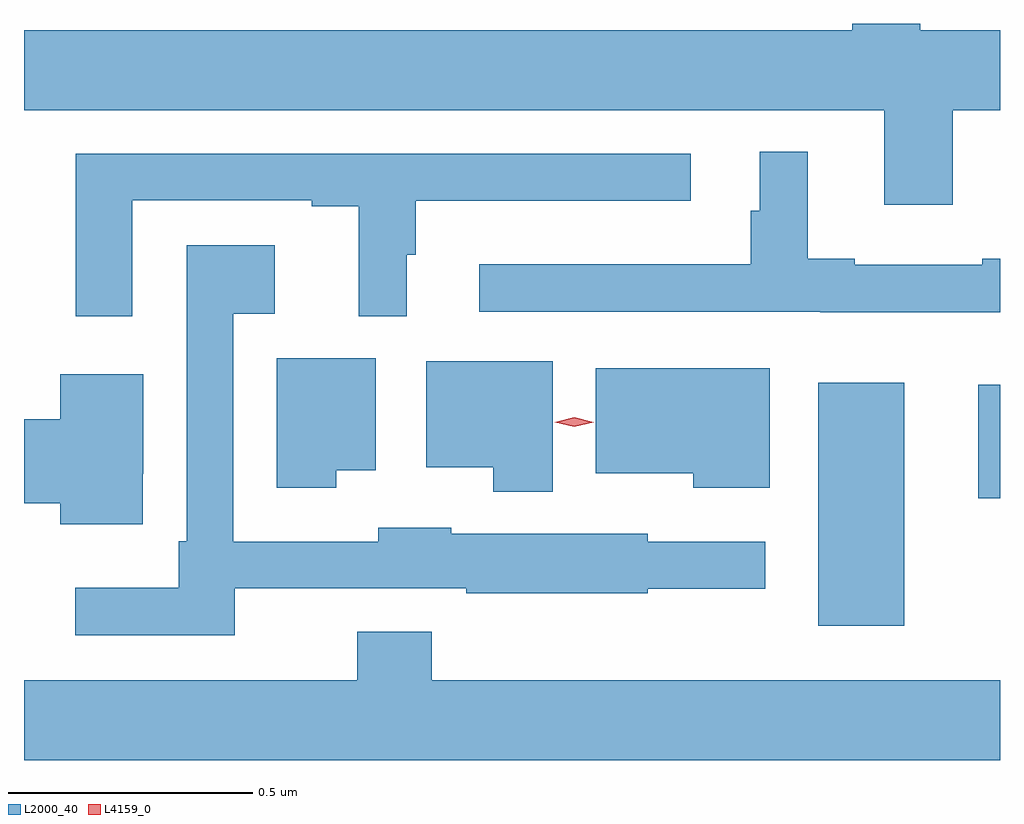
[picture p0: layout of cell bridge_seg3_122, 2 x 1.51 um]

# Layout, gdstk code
import gdstk
lib = gdstk.Library(unit=1e-6, precision=1e-09)
def R(c, l, rs):  # rectangles x0, y0, x1, y1
    for r in rs: c.add(gdstk.rectangle(r[:2], r[2:], *l))
def P(c, l, *ps):  # polygons
    for p in ps: c.add(gdstk.Polygon(p, *l))
L2000_40 = (2000, 40)
L4159_0 = (4159, 0)

bridge_seg3_122 = lib.new_cell('bridge_seg3_122')
R(bridge_seg3_122, L2000_40, [(639.776,699.86,639.952,700.357), (640.103,700.121,640.148,700.353)])
P(bridge_seg3_122, L2000_40, [(640.051,700.916),(640.148,700.916),(640.148,701.08),(639.985,701.08),(639.985,701.093),(639.845,701.093),(639.845,701.08),(638.148,701.08),(638.148,700.916),(639.911,700.916),(639.911,700.722),(640.051,700.722)],
  [(640.148,700.612),(640.112,700.612),(640.112,700.599),(639.85,700.599),(639.85,700.612),(639.754,700.612),(639.754,700.831),(639.656,700.831),(639.656,700.71),(639.637,700.71),(639.637,700.6),(639.081,700.6),(639.081,700.503),(639.78,700.503),(639.78,700.502),(640.148,700.502)],
  [(638.37,700.731),(638.738,700.731),(638.738,700.719),(638.834,700.719),(638.834,700.494),(638.932,700.494),(638.932,700.62),(638.951,700.62),(638.951,700.73),(639.514,700.73),(639.514,700.827),(638.254,700.827),(638.254,700.494),(638.37,700.494)],
  [(638.58,699.936),(639.054,699.936),(639.054,699.926),(639.426,699.926),(639.426,699.935),(639.667,699.935),(639.667,700.032),(639.426,700.032),(639.426,700.048),(639.024,700.048),(639.024,700.06),(638.874,700.06),(638.874,700.032),(638.577,700.032),(638.577,700.499),(638.662,700.499),(638.662,700.639),(638.481,700.639),(638.481,700.033),(638.465,700.033),(638.465,699.937),(638.253,699.937),(638.253,699.84),(638.58,699.84)],
  [(638.788,700.178),(638.869,700.178),(638.869,700.408),(638.666,700.408),(638.666,700.142),(638.788,700.142)],
  [(639.232,700.402),(638.972,700.402),(638.972,700.184),(639.11,700.184),(639.11,700.134),(639.232,700.134)],
  [(639.676,700.387),(639.32,700.387),(639.32,700.172),(639.519,700.172),(639.519,700.142),(639.676,700.142)],
  [(638.391,700.171),(638.392,700.171),(638.392,700.375),(638.222,700.375),(638.222,700.283),(638.148,700.283),(638.148,700.111),(638.222,700.111),(638.222,700.068),(638.391,700.068)],
  [(640.148,699.748),(638.984,699.748),(638.984,699.847),(638.831,699.847),(638.831,699.748),(638.148,699.748),(638.148,699.584),(640.148,699.584)])
P(bridge_seg3_122, L4159_0, [(639.276,700.267),(639.236,700.276),(639.235,700.277),(639.236,700.277),(639.276,700.287),(639.316,700.277),(639.316,700.277),(639.316,700.276)])

lib.write_gds('bridge_seg3_122.gds')
